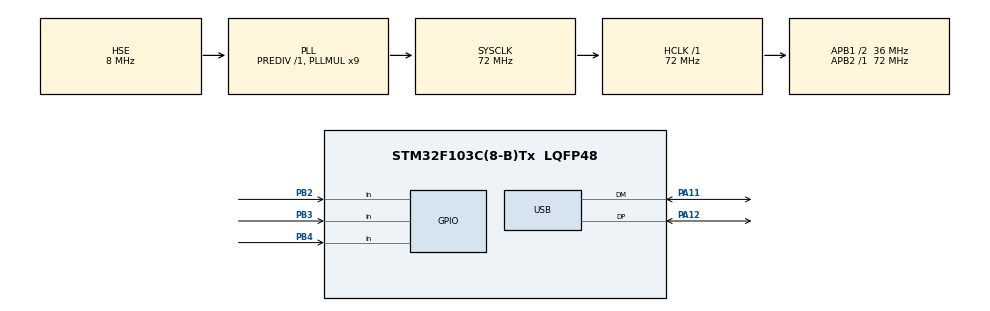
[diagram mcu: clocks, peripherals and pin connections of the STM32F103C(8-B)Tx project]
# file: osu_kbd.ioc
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Mcu.Family=STM32F1
Mcu.Name=STM32F103C(8-B)Tx
Mcu.Package=LQFP48
NVIC.PriorityGroup=NVIC_PRIORITYGROUP_4
NVIC.USB_LP_CAN1_RX0_IRQn=true\:0\:0\:false\:false\:true\:false\:true
PA11.Mode=Device
PA11.Signal=USB_DM
PA12.Mode=Device
PA12.Signal=USB_DP
PA13.Mode=Serial_Wire
PA13.Signal=SYS_JTMS-SWDIO
PA14.Mode=Serial_Wire
PA14.Signal=SYS_JTCK-SWCLK
PB2.GPIO_PuPd=GPIO_PULLUP
PB2.Signal=GPIO_Input
PB3.GPIO_PuPd=GPIO_PULLUP
PB3.Signal=GPIO_Input
PB4.GPIO_PuPd=GPIO_PULLUP
PB4.Signal=GPIO_Input
PD0-OSC_IN.Mode=HSE-External-Oscillator
PD0-OSC_IN.Signal=RCC_OSC_IN
PD1-OSC_OUT.Mode=HSE-External-Oscillator
PD1-OSC_OUT.Signal=RCC_OSC_OUT
ProjectManager.HeapSize=0x200
ProjectManager.StackSize=0x400
ProjectManager.TargetToolchain=SW4STM32
RCC.AHBFreq_Value=72000000
RCC.APB1CLKDivider=RCC_HCLK_DIV2
RCC.APB1Freq_Value=36000000
RCC.APB1TimFreq_Value=72000000
RCC.APB2Freq_Value=72000000
RCC.APB2TimFreq_Value=72000000
RCC.HCLKFreq_Value=72000000
RCC.PLLMUL=RCC_PLL_MUL9
RCC.PLLSourceVirtual=RCC_PLLSOURCE_HSE
RCC.SYSCLKFreq_VALUE=72000000
RCC.SYSCLKSource=RCC_SYSCLKSOURCE_PLLCLK
RCC.USBFreq_Value=48000000
RCC.USBPrescaler=RCC_USBCLKSOURCE_PLL_DIV1_5
USB_DEVICE.CLASS_NAME_FS=HID
USB_DEVICE.VirtualMode=Hid
USB_DEVICE.VirtualModeFS=Hid_FS
VP_USB_DEVICE_VS_USB_DEVICE_HID_FS.Mode=HID_FS
board=custom

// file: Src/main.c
/* USER CODE BEGIN Header */
/**
  ******************************************************************************
  * @file           : main.c
  * @brief          : Main program body
  ******************************************************************************
  * @attention
  *
  * <h2><center>&copy; Copyright (c) 2020 STMicroelectronics.
  * All rights reserved.</center></h2>
  *
  * This software component is licensed by ST under BSD 3-Clause license,
  * the "License"; You may not use this file except in compliance with the
  * License. You may obtain a copy of the License at:
  *                        opensource.org/licenses/BSD-3-Clause
  *
  ******************************************************************************
  */
/* USER CODE END Header */

#include <unistd.h>
#include <usbd_hid.h>
#include "main.h"
#include "usb_device.h"
#include "gpio.h"

void SystemClock_Config(void);

/* USER CODE BEGIN 0 */
static void send_report();
static uint8_t last_report;
static uint8_t key_map[3] = {0x1D, 0x1B, 0x29}; /* Z, X, \ESC */
extern USBD_HandleTypeDef hUsbDeviceFS;
/* USER CODE END 0 */

int main(void)
{

  /* MCU Configuration--------------------------------------------------------*/

  /* Reset of all peripherals, Initializes the Flash interface and the Systick. */
  HAL_Init();

  /* Configure the system clock */
  SystemClock_Config();

  /* Initialize all configured peripherals */
  MX_GPIO_Init();
  MX_USB_DEVICE_Init();
  /* USER CODE BEGIN 2 */
  static uint8_t keyboard_buffer;
  static uint8_t keyboard_result;
  /* USER CODE END 2 */

  /* Infinite loop */
  /* USER CODE BEGIN WHILE */
#pragma clang diagnostic push
#pragma clang diagnostic ignored "-Wmissing-noreturn"
  while (1)
  {
    /* USER CODE END WHILE */
    uint8_t input = (~(GPIOB->IDR >> 2U)) & 0b111U;
    for (uint8_t i = 0U; i < 3U; ++i) {
      if (((keyboard_buffer >> i) & 0x1U) == ((input >> i) & 0x1U)) {
        if ((keyboard_buffer >> i) & 0x1U) {
          keyboard_result |= 0x1U << i;
        } else {
          keyboard_result &= ~((uint8_t)0x1U << i);
        }
      }
    }
    last_report = keyboard_result;
    send_report();
    keyboard_buffer = input;
    HAL_Delay(0); // Scan every 3 ms
    /* USER CODE BEGIN 3 */
  }
#pragma clang diagnostic pop
  /* USER CODE END 3 */
}

void SystemClock_Config(void)
{
  RCC_OscInitTypeDef RCC_OscInitStruct = {0};
  RCC_ClkInitTypeDef RCC_ClkInitStruct = {0};
  RCC_PeriphCLKInitTypeDef PeriphClkInit = {0};

  /** Initializes the CPU, AHB and APB busses clocks
  */
  RCC_OscInitStruct.OscillatorType = RCC_OSCILLATORTYPE_HSE;
  RCC_OscInitStruct.HSEState = RCC_HSE_ON;
  RCC_OscInitStruct.HSEPredivValue = RCC_HSE_PREDIV_DIV1;
  RCC_OscInitStruct.HSIState = RCC_HSI_ON;
  RCC_OscInitStruct.PLL.PLLState = RCC_PLL_ON;
  RCC_OscInitStruct.PLL.PLLSource = RCC_PLLSOURCE_HSE;
  RCC_OscInitStruct.PLL.PLLMUL = RCC_PLL_MUL9;
  if (HAL_RCC_OscConfig(&RCC_OscInitStruct) != HAL_OK)
  {
    Error_Handler();
  }
  /** Initializes the CPU, AHB and APB busses clocks
  */
  RCC_ClkInitStruct.ClockType = RCC_CLOCKTYPE_HCLK|RCC_CLOCKTYPE_SYSCLK
                              |RCC_CLOCKTYPE_PCLK1|RCC_CLOCKTYPE_PCLK2;
  RCC_ClkInitStruct.SYSCLKSource = RCC_SYSCLKSOURCE_PLLCLK;
  RCC_ClkInitStruct.AHBCLKDivider = RCC_SYSCLK_DIV1;
  RCC_ClkInitStruct.APB1CLKDivider = RCC_HCLK_DIV2;
  RCC_ClkInitStruct.APB2CLKDivider = RCC_HCLK_DIV1;

  if (HAL_RCC_ClockConfig(&RCC_ClkInitStruct, FLASH_LATENCY_2) != HAL_OK)
  {
    Error_Handler();
  }
  PeriphClkInit.PeriphClockSelection = RCC_PERIPHCLK_USB;
  PeriphClkInit.UsbClockSelection = RCC_USBCLKSOURCE_PLL_DIV1_5;
  if (HAL_RCCEx_PeriphCLKConfig(&PeriphClkInit) != HAL_OK)
  {
    Error_Handler();
  }
}

/* USER CODE BEGIN 4 */
static uint8_t usb_keyboard_report[8] = {
        0x0, // Modifier,
        0x0, // Reserved,
        0x0, 0x0, 0x0, 0x0, 0x0, 0x0 // 6x Keycodes
};
void send_report() {
  usb_keyboard_report[2] = (last_report & 0x1U) ? key_map[0] : 0x0U;
  usb_keyboard_report[3] = (last_report & 0x2U) ? key_map[1] : 0x0U;
  usb_keyboard_report[4] = (last_report & 0x4U) ? key_map[2] : 0x0U;
  USBD_HID_SendReport(&hUsbDeviceFS, usb_keyboard_report, 8);
}
/* USER CODE END 4 */

void Error_Handler(void)
{
}

/************************ (C) COPYRIGHT STMicroelectronics *****END OF FILE****/
